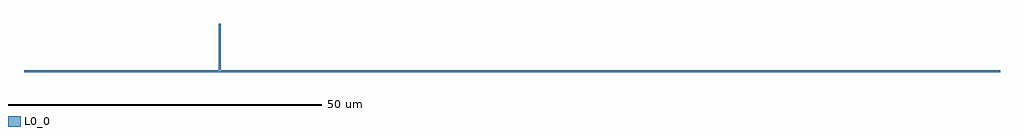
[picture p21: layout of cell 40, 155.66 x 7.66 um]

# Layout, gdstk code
import gdstk
lib = gdstk.Library(unit=1e-6, precision=1e-09)
def P(c, l, *ps):  # polygons
    for p in ps: c.add(gdstk.Polygon(p, *l))
L0_0 = (0, 0)

c_40 = lib.new_cell('40')
P(c_40, L0_0, [(1265.36,767.62),(1265.74,767.62),(1265.74,767.34),(1265.36,767.34),(1265.36,767.62)],
  [(1390,767.365),(1265.435,767.365),(1265.435,767.595),(1390,767.595),(1390,767.365)],
  [(1265.36,767.62),(1265.74,767.62),(1265.74,767.34),(1265.36,767.34),(1265.36,767.62)],
  [(1265.69,775),(1265.69,767.34),(1265.41,767.34),(1265.41,775),(1265.69,775)],
  [(1250.84,767.62),(1251.22,767.62),(1251.22,767.34),(1250.84,767.34),(1250.84,767.62)],
  [(1390,767.34),(1250.89,767.34),(1250.89,767.62),(1390,767.62),(1390,767.34)],
  [(1234.34,767.62),(1234.72,767.62),(1234.72,767.34),(1234.34,767.34),(1234.34,767.62)],
  [(1390,767.34),(1234.39,767.34),(1234.39,767.62),(1390,767.62),(1390,767.34)])

lib.write_gds('40.gds')
